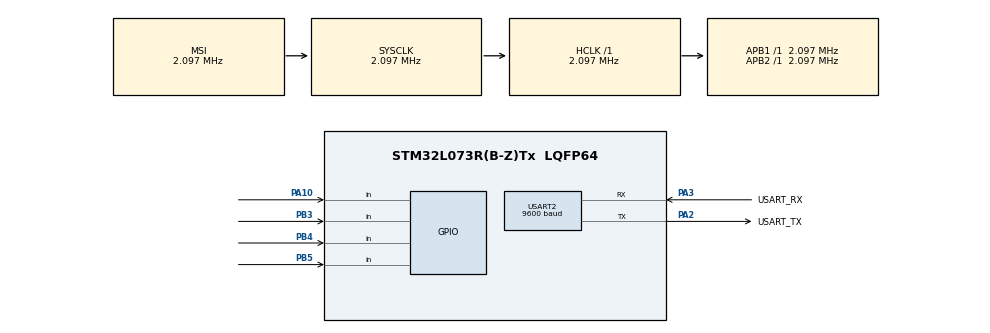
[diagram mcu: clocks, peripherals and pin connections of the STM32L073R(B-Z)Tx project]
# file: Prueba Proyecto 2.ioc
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Mcu.Family=STM32L0
RCC.MSI_VALUE=2097000
PC15-OSC32_OUT.Mode=LSE-External-Oscillator
PH0-OSC_IN.Signal=RCC_OSC_IN
PC14-OSC32_IN.Signal=RCC_OSC32_IN
USART2.BaudRate=9600
ProjectManager.StackSize=0x400
PA3.Mode=Asynchronous
PA13.Signal=SYS_SWDIO
RCC.HSI16_VALUE=16000000
ProjectManager.TargetToolchain=STM32CubeIDE
RCC.APB2TimFreq_Value=2097000
PC15-OSC32_OUT.Signal=RCC_OSC32_OUT
RCC.AHBFreq_Value=2097000
PH0-OSC_IN.Mode=HSE-External-Clock-Source
PH0-OSC_IN.GPIO_Label=MCO
RCC.HSE_VALUE=8000000
board=NUCLEO-L073RZ
USART2.VirtualMode-Asynchronous=VM_ASYNC
RCC.VCOOutputFreq_Value=48000000
RCC.APB2Freq_Value=2097000
PC14-OSC32_IN.Mode=LSE-External-Oscillator
PA14.Mode=Serial_Wire
PA13.Mode=Serial_Wire
Mcu.Name=STM32L073R(B-Z)Tx
PA2.Signal=USART2_TX
PB3.Signal=GPIO_Input
RCC.SYSCLKFreq_VALUE=2097000
Mcu.Package=LQFP64
PB5.Signal=GPIO_Input
PA2.GPIO_Label=USART_TX
PA10.Signal=GPIO_Input
PA14.Signal=SYS_SWCLK
ProjectManager.HeapSize=0x200
RCC.HSI_VALUE=16000000
RCC.APB1TimFreq_Value=2097000
PA2.Mode=Asynchronous
RCC.APB1Freq_Value=2097000
RCC.HSI48_VALUE=48000000
PB4.Signal=GPIO_Input
PA3.GPIO_Label=USART_RX
PA3.Signal=USART2_RX

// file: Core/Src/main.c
#include "main.h"

/* USER CODE BEGIN PD */

	uint8_t IT[1] ={0}; //Interruption
	uint8_t brk= 0;    // Break validation

	//Counter variable / Plate position marker
	int cont = 0;

UART_HandleTypeDef huart2;

void SystemClock_Config(void);
static void MX_GPIO_Init(void);
static void MX_USART2_UART_Init(void);

/* USER CODE BEGIN 0 */

/*
 * Setting the plate velocity with the Dip-Switch
 *
 */

int gameplay()
{

	//velocity variable.

	int velocity = 0;

	if(HAL_GPIO_ReadPin(GPIOA, GPIO_PIN_10)) //First Switch

	{
	    if(HAL_GPIO_ReadPin(GPIOB, GPIO_PIN_3)) //Second Switch

	    {

	        if(HAL_GPIO_ReadPin(GPIOB, GPIO_PIN_5)) //Thrid Switch

	        {
	            velocity = 500; //Super Fast

	        }
	        else
	        {
	        	velocity = 1000; //Fast
	        }
	    }

	  else

	    {
	        velocity = 1500; //Medium
	    }
	}

	  else
	  {

		velocity = 2000; //Slow
	  }

	return velocity; //Variable Exit
}

/*
 * Setting the shooting configuration (amount of shots the players can make)
 */

int shoot()
{
	//Shooting variable

	int shoot = 0;

	//available shots

		if(HAL_GPIO_ReadPin(GPIOB, GPIO_PIN_4)) //Fourth Switch (levels)
		{
			shoot = 11; //If it's DOWN
		}
		else
		{
			shoot = 25; //If it's UP
		}

		return shoot; //Variable Exit

}

/*
 * Plate and underscores printing
 */

int plate(int time, int rounds, int score){

//Space buffer

char buffspace;

//Loop till level selected

for(int i = 1; i <= rounds; i++)
{

	/*
	 * BUFFER VARIABLES: These buffers help to store the ASCII values of the integers
	 */

	char buffrounds[16];
	char buffi[16];
	char buffpoints[16];

	/*
	 * "Tiro" Transmission
	 * */
	HAL_UART_Transmit(&huart2, "\n\rTiro: ", 8 , HAL_MAX_DELAY);
	HAL_UART_Transmit(&huart2, buffi,sprintf(buffi,"%d",i), 500);
	HAL_UART_Transmit(&huart2, " de ", 4 , HAL_MAX_DELAY);
	HAL_UART_Transmit(&huart2, buffrounds, sprintf(buffrounds,"%d",rounds), 500);
	HAL_UART_Transmit(&huart2, "\n", 1 , HAL_MAX_DELAY);

	/*
	 * "Puntuacion" Transmission
	 * */
	HAL_UART_Transmit(&huart2, "\rPuntuacion: ", 13, HAL_MAX_DELAY);
	HAL_UART_Transmit(&huart2, buffpoints, sprintf(buffpoints,"%02d",score), 500);
	HAL_UART_Transmit(&huart2, "\n", 1 , HAL_MAX_DELAY);

	/*
	 * Rail and Plate Transmission // 'Space' key to start printing plus the interruption validations
	 * */
	HAL_UART_Transmit(&huart2, "\r_\t_\t_\t_\t_\t_\t_\t*\t_\t_\t\n", 24, HAL_MAX_DELAY);

	HAL_UART_Receive(&huart2, buffspace , 1, HAL_MAX_DELAY); //'SPACE' receiver

	HAL_UART_Transmit(&huart2, "\r@", 2, HAL_MAX_DELAY);
	cont++;
	if(brk != 0)
	{
	  brk = 0;
	  break;
	}
	HAL_UART_Receive_IT (&huart2, IT, 1); //Interrupt
	HAL_Delay(time);
	HAL_UART_Receive_IT (&huart2, IT, 1); //Interrupt
	HAL_UART_Transmit(&huart2, "\r", 1, HAL_MAX_DELAY);
	HAL_UART_Receive_IT (&huart2, IT, 1); //Interrupt
	HAL_UART_Transmit(&huart2, " ",  1, HAL_MAX_DELAY);
	HAL_UART_Receive_IT (&huart2, IT, 1); //Interrupt
	HAL_UART_Transmit(&huart2, "\r", 1, HAL_MAX_DELAY);
	HAL_UART_Receive_IT (&huart2, IT, 1); //Interrupt
	HAL_UART_Transmit(&huart2, "\t@",2, HAL_MAX_DELAY);
	HAL_UART_Receive_IT (&huart2, IT, 1); //Interrupt
	cont++;
	if(brk != 0)
		{
		  brk = 0;
		  break;
		}
	HAL_UART_Receive_IT (&huart2, IT, 1);
	HAL_Delay(time);
	HAL_UART_Receive_IT (&huart2, IT, 1); //Interrupt
	HAL_UART_Transmit(&huart2, "\r", 1, HAL_MAX_DELAY);
	HAL_UART_Receive_IT (&huart2, IT, 1); //Interrupt
	HAL_UART_Transmit(&huart2, "\t ", 2, HAL_MAX_DELAY);
	HAL_UART_Receive_IT (&huart2, IT, 1); //Interrupt
	HAL_UART_Transmit(&huart2, "\r", 1, HAL_MAX_DELAY);
	HAL_UART_Receive_IT (&huart2, IT, 1); //Interrupt
	HAL_UART_Transmit(&huart2, "\t\t@", 3, HAL_MAX_DELAY);
	HAL_UART_Receive_IT (&huart2, IT, 1); //Interrupt
	cont++;
	if(brk != 0)
		{
		  brk = 0;
		  break;
		}
	HAL_UART_Receive_IT (&huart2, IT, 1);
	HAL_Delay(time);
	HAL_UART_Receive_IT (&huart2, IT, 1); //Interrupt
	HAL_UART_Transmit(&huart2, "\r", 1, HAL_MAX_DELAY);
	HAL_UART_Receive_IT (&huart2, IT, 1); //Interrupt
	HAL_UART_Transmit(&huart2, "\t\t ", 3, HAL_MAX_DELAY);
	HAL_UART_Receive_IT (&huart2, IT, 1); //Interrupt
	HAL_UART_Transmit(&huart2, "\r", 1, HAL_MAX_DELAY);
	HAL_UART_Receive_IT (&huart2, IT, 1); //Interrupt
	HAL_UART_Transmit(&huart2, "\t\t\t@", 4, HAL_MAX_DELAY);
	HAL_UART_Receive_IT (&huart2, IT, 1); //Interrupt
	cont++;
	if(brk != 0)
		{
		  brk = 0;
		  break;
		}
	HAL_UART_Receive_IT (&huart2, IT, 1);
	HAL_Delay(time);
	HAL_UART_Receive_IT (&huart2, IT, 1); //Interrupt
	HAL_UART_Transmit(&huart2, "\r", 1, HAL_MAX_DELAY);
	HAL_UART_Receive_IT (&huart2, IT, 1); //Interrupt
	HAL_UART_Transmit(&huart2, "\t\t\t ", 4, HAL_MAX_DELAY);
	HAL_UART_Receive_IT (&huart2, IT, 1); //Interrupt
	HAL_UART_Transmit(&huart2, "\r", 1, HAL_MAX_DELAY);
	HAL_UART_Receive_IT (&huart2, IT, 1); //Interrupt
	HAL_UART_Transmit(&huart2, "\t\t\t\t@",5, HAL_MAX_DELAY);
	HAL_UART_Receive_IT (&huart2, IT, 1); //Interrupt
	cont++;
	if(brk != 0)
		{
		  brk = 0;
		  break;
		}
	HAL_UART_Receive_IT (&huart2, IT, 1);
	HAL_Delay(time);
	HAL_UART_Receive_IT (&huart2, IT, 1); //Interrupt
	HAL_UART_Transmit(&huart2, "\r", 1, HAL_MAX_DELAY);
	HAL_UART_Receive_IT (&huart2, IT, 1); //Interrupt
	HAL_UART_Transmit(&huart2, "\t\t\t\t ", 5, HAL_MAX_DELAY);
	HAL_UART_Receive_IT (&huart2, IT, 1); //Interrupt
	HAL_UART_Transmit(&huart2, "\r", 1, HAL_MAX_DELAY);
	HAL_UART_Receive_IT (&huart2, IT, 1); //Interrupt
	HAL_UART_Transmit(&huart2, "\t\t\t\t\t@", 6, HAL_MAX_DELAY);
	HAL_UART_Receive_IT (&huart2, IT, 1); //Interrupt
	cont++;
	if(brk != 0)
		{
		  brk = 0;
		  break;
		}
	HAL_UART_Receive_IT (&huart2, IT, 1);
	HAL_Delay(time);
	HAL_UART_Receive_IT (&huart2, IT, 1); //Interrupt
	HAL_UART_Transmit(&huart2, "\r", 1, HAL_MAX_DELAY);
	HAL_UART_Receive_IT (&huart2, IT, 1); //Interrupt
	HAL_UART_Transmit(&huart2, "\t\t\t\t\t ", 6, HAL_MAX_DELAY);
	HAL_UART_Receive_IT (&huart2, IT, 1); //Interrupt
	HAL_UART_Transmit(&huart2, "\r", 1, HAL_MAX_DELAY);
	HAL_UART_Receive_IT (&huart2, IT, 1); //Interrupt
	HAL_UART_Transmit(&huart2, "\t\t\t\t\t\t@", 7, HAL_MAX_DELAY);
	HAL_UART_Receive_IT (&huart2, IT, 1); //Interrupt
	cont++;
	if(brk != 0)
		{
		  brk = 0;
		  break;
		}
	HAL_UART_Receive_IT (&huart2, IT, 1);
	HAL_Delay(time);
	HAL_UART_Receive_IT (&huart2, IT, 1); //Interrupt
	HAL_UART_Transmit(&huart2, "\r", 1, HAL_MAX_DELAY);
	HAL_UART_Receive_IT (&huart2, IT, 1); //Interrupt
	HAL_UART_Transmit(&huart2, "\t\t\t\t\t\t ", 7, HAL_MAX_DELAY);
	HAL_UART_Receive_IT (&huart2, IT, 1); //Interrupt
	HAL_UART_Transmit(&huart2, "\r", 1, HAL_MAX_DELAY);
	HAL_UART_Receive_IT (&huart2, IT, 1); //Interrupt
	HAL_UART_Transmit(&huart2, "\t\t\t\t\t\t\t@", 8, HAL_MAX_DELAY);
	HAL_UART_Receive_IT (&huart2, IT, 1); //Interrupt
	cont++;
	if(brk != 0)
		{
		  brk = 0;
		  break;
		}
	HAL_UART_Receive_IT (&huart2, IT, 1);
	HAL_Delay(time);
	HAL_UART_Receive_IT (&huart2, IT, 1); //Interrupt
	HAL_UART_Transmit(&huart2, "\r", 1, HAL_MAX_DELAY);
	HAL_UART_Receive_IT (&huart2, IT, 1); //Interrupt
	HAL_UART_Transmit(&huart2, "\t\t\t\t\t\t\t ", 8, HAL_MAX_DELAY);
	HAL_UART_Receive_IT (&huart2, IT, 1); //Interrupt
	HAL_UART_Transmit(&huart2, "\r", 1, HAL_MAX_DELAY);
	HAL_UART_Receive_IT (&huart2, IT, 1); //Interrupt
	HAL_UART_Transmit(&huart2, "\t\t\t\t\t\t\t\t@", 9, HAL_MAX_DELAY);
	HAL_UART_Receive_IT (&huart2, IT, 1); //Interrupt
	cont++;
	if(brk != 0)
		{
		  brk = 0;
		  break;
		}
	HAL_UART_Receive_IT (&huart2, IT, 1);
	HAL_Delay(time);
	HAL_UART_Receive_IT (&huart2, IT, 1); //Interrupt
	HAL_UART_Transmit(&huart2, "\r", 1, HAL_MAX_DELAY);
	HAL_UART_Receive_IT (&huart2, IT, 1); //Interrupt
	HAL_UART_Transmit(&huart2, "\t\t\t\t\t\t\t\t ", 9, HAL_MAX_DELAY);
	HAL_UART_Receive_IT (&huart2, IT, 1); //Interrupt
	HAL_UART_Transmit(&huart2, "\r", 1, HAL_MAX_DELAY);
	HAL_UART_Receive_IT (&huart2, IT, 1); //Interrupt
	HAL_UART_Transmit(&huart2, "\t\t\t\t\t\t\t\t\t@", 10, HAL_MAX_DELAY);
	HAL_UART_Receive_IT (&huart2, IT, 1); //Interrupt
	cont++;
	if(brk != 0)
		{
		  brk = 0;
		  break;
		}
	HAL_UART_Receive_IT (&huart2, IT, 1);
	HAL_Delay(time);
	HAL_UART_Receive_IT (&huart2, IT, 1); //Interrupt
	HAL_UART_Transmit(&huart2, "\r", 1, HAL_MAX_DELAY);
	HAL_UART_Receive_IT (&huart2, IT, 1); //Interrupt
	HAL_UART_Transmit(&huart2, "\t\t\t\t\t\t\t\t\t ", 10, HAL_MAX_DELAY);
	HAL_UART_Receive_IT (&huart2, IT, 1); //Interrupt
}

}

/* USER CODE END 0 */

int main(void)
{

  /* MCU Configuration--------------------------------------------------------*/

  /* Reset of all peripherals, Initializes the Flash interface and the Systick. */
	HAL_Init();

  /* Configure the system clock */
  SystemClock_Config();

  /* Initialize all configured peripherals */
  MX_GPIO_Init();
  MX_USART2_UART_Init();
  /* USER CODE BEGIN 2 */

  /*
   * Function variable receivers for init
   * */
  int velocity_1;
  int shoot_1;
  char num = "a"; //'ENTER' key buffer
  int score_1 = 0;

  /*
   * Welcome Message
   * */
  HAL_UART_Transmit(&huart2, "\n\rBienvenido a tiro al plato!\n", 28 , HAL_MAX_DELAY);
  HAL_UART_Transmit(&huart2, "\n\rConfigure la velocidad y el nivel utilizando el dip-switch de cuatro posiciones.\n", 82 , HAL_MAX_DELAY);
  HAL_UART_Transmit(&huart2, "\n\rCuando esté listo, presione ENTER para comenzar!\n ", 52 , HAL_MAX_DELAY);

  //Initialization of the functions
  velocity_1 = gameplay();
  shoot_1 = shoot();

  HAL_UART_Receive(&huart2, num , 1, HAL_MAX_DELAY); //ENTER receiver

  plate(velocity_1,shoot_1, score_1); //GAME EXECUTION

  /* USER CODE END 2 */

  /* Infinite loop */
  while (1)
  {

  }

}

void HAL_UART_RxCpltCallback(UART_HandleTypeDef *huart)
{
	int puntuacion; //Score variable (LITERALLY!!!)

	  if(cont == 8)
	  {

		puntuacion++;

	    for(int i = 0; i<=4; i++)
	    {
	    HAL_UART_Transmit(&huart2, "\r", 1, HAL_MAX_DELAY);
		HAL_UART_Transmit(&huart2, "\t\t\t\t\t\t\t ", 8, HAL_MAX_DELAY);
		HAL_Delay(500);
		HAL_UART_Transmit(&huart2, "\r", 1, HAL_MAX_DELAY);
		HAL_UART_Transmit(&huart2, "\t\t\t\t\t\t\t@", 8, HAL_MAX_DELAY);
	    }

	  }

	  else if (cont == 1)
	  {

	    for(int i = 0; i<=4; i++)
	    {

	    HAL_UART_Transmit(&huart2, "\r", 1, HAL_MAX_DELAY);
		HAL_UART_Transmit(&huart2, " ",  1, HAL_MAX_DELAY);
		HAL_Delay(1000);
		HAL_UART_Transmit(&huart2, "\r", 1, HAL_MAX_DELAY);
		HAL_UART_Transmit(&huart2, "@", 1, HAL_MAX_DELAY);
	    }

	  }

	  else if (cont == 2)
	  {

	    for(int i = 0; i<=4; i++)
	    {

	    HAL_UART_Transmit(&huart2, "\r", 1, HAL_MAX_DELAY);
		HAL_UART_Transmit(&huart2, "\t ",  2, HAL_MAX_DELAY);
		HAL_Delay(1000);
		HAL_UART_Transmit(&huart2, "\r", 1, HAL_MAX_DELAY);
		HAL_UART_Transmit(&huart2, "\t@", 2, HAL_MAX_DELAY);
	    }

	  }

	  else if (cont == 3)
	  {

	    for(int i = 0; i<=4; i++)
	    {

	    HAL_UART_Transmit(&huart2, "\r", 1, HAL_MAX_DELAY);
		HAL_UART_Transmit(&huart2, "\t\t ",  3, HAL_MAX_DELAY);
		HAL_Delay(1000);
		HAL_UART_Transmit(&huart2, "\r", 1, HAL_MAX_DELAY);
		HAL_UART_Transmit(&huart2, "\t\t@", 3, HAL_MAX_DELAY);
	    }

	  }

	  else if (cont == 4)
	  {

	    for(int i = 0; i<=4; i++)
	    {

	    HAL_UART_Transmit(&huart2, "\r", 1, HAL_MAX_DELAY);
		HAL_UART_Transmit(&huart2, "\t\t\t ",  4, HAL_MAX_DELAY);
		HAL_Delay(1000);
		HAL_UART_Transmit(&huart2, "\r", 1, HAL_MAX_DELAY);
		HAL_UART_Transmit(&huart2, "\t\t\t@", 4, HAL_MAX_DELAY);

	    }
	  }

	  else if (cont == 5)
	  {

	    for(int i = 0; i<=4; i++)
	    {

	    HAL_UART_Transmit(&huart2, "\r", 1, HAL_MAX_DELAY);
		HAL_UART_Transmit(&huart2, "\t\t\t\t ",  5, HAL_MAX_DELAY);
		HAL_Delay(1000);
		HAL_UART_Transmit(&huart2, "\r", 1, HAL_MAX_DELAY);
		HAL_UART_Transmit(&huart2, "\t\t\t\t@", 5, HAL_MAX_DELAY);

	    }

	  }

	  else if (cont == 6)
	  {

	    for(int i = 0; i<=4; i++)
	    {

	    HAL_UART_Transmit(&huart2, "\r", 1, HAL_MAX_DELAY);
		HAL_UART_Transmit(&huart2, "\t\t\t\t\t ",  6, HAL_MAX_DELAY);
		HAL_Delay(1000);
		HAL_UART_Transmit(&huart2, "\r", 1, HAL_MAX_DELAY);
		HAL_UART_Transmit(&huart2, "\t\t\t\t\t@", 6, HAL_MAX_DELAY);

	    }
	  }

	  else if (cont == 7)
	  {

	    for(int i = 0; i<=4; i++)
	    {

	    HAL_UART_Transmit(&huart2, "\r", 1, HAL_MAX_DELAY);
		HAL_UART_Transmit(&huart2, "\t\t\t\t\t\t ",  7, HAL_MAX_DELAY);
		HAL_Delay(1000);
		HAL_UART_Transmit(&huart2, "\r", 1, HAL_MAX_DELAY);
		HAL_UART_Transmit(&huart2, "\t\t\t\t\t\t@", 7, HAL_MAX_DELAY);

	    }
	  }

	  else if (cont == 9)
	  {
	    for(int i = 0; i<=4; i++)
	    {
	    HAL_UART_Transmit(&huart2, "\r", 1, HAL_MAX_DELAY);
		HAL_UART_Transmit(&huart2, "\t\t\t\t\t\t\t\t ",  9, HAL_MAX_DELAY);
		HAL_Delay(1000);
		HAL_UART_Transmit(&huart2, "\r", 1, HAL_MAX_DELAY);
		HAL_UART_Transmit(&huart2, "\t\t\t\t\t\t\t\t@", 9, HAL_MAX_DELAY);
	    }
	  }
	 else
	  {
	    for(int i = 0; i<=4; i++)
	    {

	    HAL_UART_Transmit(&huart2, "\r", 1, HAL_MAX_DELAY);
		HAL_UART_Transmit(&huart2, "\t\t\t\t\t\t\t\t\t ",  10, HAL_MAX_DELAY);
		HAL_Delay(1000);
		HAL_UART_Transmit(&huart2, "\r", 1, HAL_MAX_DELAY);
		HAL_UART_Transmit(&huart2, "\t\t\t\t\t\t\t\t\t@",10, HAL_MAX_DELAY);

	    }
	  }
		//brk++;

		if(puntuacion >= 8)
		{
			__NOP();
		}
}

void SystemClock_Config(void)
{
  RCC_OscInitTypeDef RCC_OscInitStruct = {0};
  RCC_ClkInitTypeDef RCC_ClkInitStruct = {0};
  RCC_PeriphCLKInitTypeDef PeriphClkInit = {0};

  /** Configure the main internal regulator output voltage
  */
  __HAL_PWR_VOLTAGESCALING_CONFIG(PWR_REGULATOR_VOLTAGE_SCALE1);
  /** Initializes the RCC Oscillators according to the specified parameters
  * in the RCC_OscInitTypeDef structure.
  */
  RCC_OscInitStruct.OscillatorType = RCC_OSCILLATORTYPE_MSI;
  RCC_OscInitStruct.MSIState = RCC_MSI_ON;
  RCC_OscInitStruct.MSICalibrationValue = 0;
  RCC_OscInitStruct.MSIClockRange = RCC_MSIRANGE_5;
  RCC_OscInitStruct.PLL.PLLState = RCC_PLL_NONE;
  if (HAL_RCC_OscConfig(&RCC_OscInitStruct) != HAL_OK)
  {
    Error_Handler();
  }
  /** Initializes the CPU, AHB and APB buses clocks
  */
  RCC_ClkInitStruct.ClockType = RCC_CLOCKTYPE_HCLK|RCC_CLOCKTYPE_SYSCLK
                              |RCC_CLOCKTYPE_PCLK1|RCC_CLOCKTYPE_PCLK2;
  RCC_ClkInitStruct.SYSCLKSource = RCC_SYSCLKSOURCE_MSI;
  RCC_ClkInitStruct.AHBCLKDivider = RCC_SYSCLK_DIV1;
  RCC_ClkInitStruct.APB1CLKDivider = RCC_HCLK_DIV1;
  RCC_ClkInitStruct.APB2CLKDivider = RCC_HCLK_DIV1;

  if (HAL_RCC_ClockConfig(&RCC_ClkInitStruct, FLASH_LATENCY_0) != HAL_OK)
  {
    Error_Handler();
  }
  PeriphClkInit.PeriphClockSelection = RCC_PERIPHCLK_USART2;
  PeriphClkInit.Usart2ClockSelection = RCC_USART2CLKSOURCE_PCLK1;
  if (HAL_RCCEx_PeriphCLKConfig(&PeriphClkInit) != HAL_OK)
  {
    Error_Handler();
  }
}

static void MX_USART2_UART_Init(void)
{

  huart2.Instance = USART2;
  huart2.Init.BaudRate = 9600;
  huart2.Init.WordLength = UART_WORDLENGTH_8B;
  huart2.Init.StopBits = UART_STOPBITS_1;
  huart2.Init.Parity = UART_PARITY_NONE;
  huart2.Init.Mode = UART_MODE_TX_RX;
  huart2.Init.HwFlowCtl = UART_HWCONTROL_NONE;
  huart2.Init.OverSampling = UART_OVERSAMPLING_16;
  huart2.Init.OneBitSampling = UART_ONE_BIT_SAMPLE_DISABLE;
  huart2.AdvancedInit.AdvFeatureInit = UART_ADVFEATURE_NO_INIT;
  if (HAL_UART_Init(&huart2) != HAL_OK)
  {
    Error_Handler();
  }

}

static void MX_GPIO_Init(void)
{
  GPIO_InitTypeDef GPIO_InitStruct = {0};

  /* GPIO Ports Clock Enable */
  __HAL_RCC_GPIOC_CLK_ENABLE();
  __HAL_RCC_GPIOH_CLK_ENABLE();
  __HAL_RCC_GPIOA_CLK_ENABLE();
  __HAL_RCC_GPIOB_CLK_ENABLE();

  /*Configure GPIO pin : PA10 */
  GPIO_InitStruct.Pin = GPIO_PIN_10;
  GPIO_InitStruct.Mode = GPIO_MODE_INPUT;
  GPIO_InitStruct.Pull = GPIO_NOPULL;
  HAL_GPIO_Init(GPIOA, &GPIO_InitStruct);

  /*Configure GPIO pins : PB3 PB4 PB5 */
  GPIO_InitStruct.Pin = GPIO_PIN_3|GPIO_PIN_4|GPIO_PIN_5;
  GPIO_InitStruct.Mode = GPIO_MODE_INPUT;
  GPIO_InitStruct.Pull = GPIO_NOPULL;
  HAL_GPIO_Init(GPIOB, &GPIO_InitStruct);

}

void Error_Handler(void)
{
  __disable_irq();
  while (1)
  {
  }
}

/************************ (C) COPYRIGHT STMicroelectronics *****END OF FILE****/
